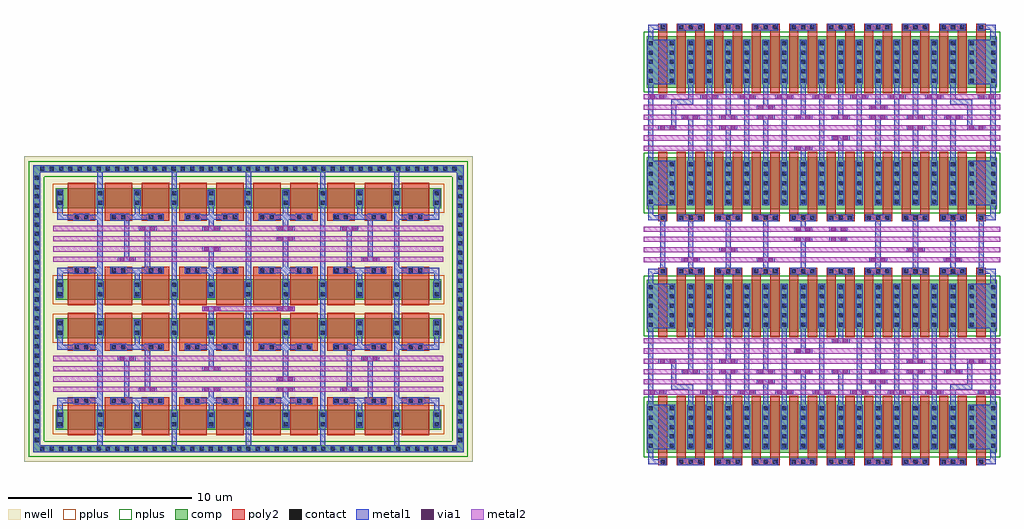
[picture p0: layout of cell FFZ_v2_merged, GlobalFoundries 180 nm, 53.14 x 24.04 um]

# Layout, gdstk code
from math import pi, radians
import gdstk
lib = gdstk.Library(unit=1e-6, precision=5e-09)
def R(c, l, rs):  # rectangles x0, y0, x1, y1
    for r in rs: c.add(gdstk.rectangle(r[:2], r[2:], *l))
def A(c, l, x, y, w, h, nx, ny, dx, dy):  # array of equal rectangles
    R(c, l, [(x+i*dx, y+j*dy, x+i*dx+w, y+j*dy+h) for i in range(nx) for j in range(ny)])
nwell = (21, 0)
comp = (22, 0)
poly2 = (30, 0)
pplus = (31, 0)
nplus = (32, 0)
contact = (33, 0)
metal1 = (34, 0)
via1 = (35, 0)
metal2 = (36, 0)

pfet = lib.new_cell('pfet')
R(pfet, nwell, [(-0.9,-0.44,20.96,1.54)])
R(pfet, comp, [(-0.46,0,0,1.1), (0,0,20.06,1.1), (20.06,0,20.52,1.1)])
A(pfet, poly2, 0.19, -0.3, 1.5, 1.7, 10, 1, 2.02, 0)
A(pfet, poly2, 0.19, 1.4, 1.5, 0.38, 10, 1, 2.02, 0)
R(pfet, pplus, [(-0.63,-0.24,20.69,1.34)])
A(pfet, contact, 1.84, 0.185, 0.22, 0.22, 9, 2, 2.02, 0.51)
R(pfet, contact, [(-0.34,0.185,-0.12,0.405), (20.18,0.185,20.4,0.405), (-0.34,0.695,-0.12,0.915), (20.18,0.695,20.4,0.915), (0.575,1.48,0.795,1.7), (1.085,1.48,1.305,1.7), (2.595,1.48,2.815,1.7), (3.105,1.48,3.325,1.7), (4.615,1.48,4.835,1.7), (5.125,1.48,5.345,1.7), (6.635,1.48,6.855,1.7), (7.145,1.48,7.365,1.7), (8.655,1.48,8.875,1.7), (9.165,1.48,9.385,1.7), (10.675,1.48,10.895,1.7), (11.185,1.48,11.405,1.7), (12.695,1.48,12.915,1.7), (13.205,1.48,13.425,1.7), (14.715,1.48,14.935,1.7), (15.225,1.48,15.445,1.7), (16.735,1.48,16.955,1.7), (17.245,1.48,17.465,1.7), (18.755,1.48,18.975,1.7), (19.265,1.48,19.485,1.7)])
A(pfet, metal1, 1.76, 0.105, 0.38, 0.89, 9, 1, 2.02, 0)
A(pfet, metal1, 0.495, 1.4, 0.89, 0.38, 10, 1, 2.02, 0)
R(pfet, metal1, [(-0.42,0.105,-0.04,0.995), (20.1,0.105,20.48,0.995)])

m1_m2 = lib.new_cell('M1_M2')
R(m1_m2, via1, [(0.1,0.01,0.36,0.27), (0.62,0.01,0.88,0.27)])
m1_m2.add(gdstk.FlexPath([(0,0.14),(0.98,0.14)], 0.28, ends="flush", simple_path=True, layer=36, datatype=0))  # metal2
m1_m2.add(gdstk.FlexPath([(0,0.14),(0.98,0.14)], 0.28, ends="flush", simple_path=True, layer=34, datatype=0))  # metal1

nfet = lib.new_cell('nfet')
R(nfet, comp, [(-0.42,0,0,2.82), (0,0,18.22,2.82), (18.22,0,18.64,2.82)])
A(nfet, poly2, 0.19, -0.3, 0.5, 3.42, 18, 1, 1.02, 0)
A(nfet, poly2, 0.19, 3.12, 0.5, 0.36, 18, 1, 1.02, 0)
R(nfet, nplus, [(-0.59,-0.24,18.81,3.06)])
A(nfet, contact, -0.32, 0.28, 0.22, 0.22, 1, 5, 0, 0.51)
A(nfet, contact, 0.84, 0.28, 0.22, 0.22, 17, 5, 1.02, 0.51)
A(nfet, contact, 18.32, 0.28, 0.22, 0.22, 1, 5, 0, 0.51)
A(nfet, contact, 0.33, 3.19, 0.22, 0.22, 18, 1, 1.02, 0)
A(nfet, metal1, 0.76, 0.2, 0.38, 2.42, 17, 1, 1.02, 0)
A(nfet, metal1, 0.25, 3.11, 0.38, 0.38, 18, 1, 1.02, 0)
R(nfet, metal1, [(-0.4,0.2,-0.02,2.62), (18.24,0.2,18.62,2.62)])

ffz_v2_merged = lib.new_cell('FFZ_v2_merged')
R(ffz_v2_merged, nwell, [(2.015,0.67,26.455,17.29), (3.305,1.96,25.165,16)])
A(ffz_v2_merged, poly2, 38.055, 0.475, 0.52, 0.36, 8, 2, 2.04, 10.38)
A(ffz_v2_merged, poly2, 38.055, 13.755, 0.52, 0.36, 8, 2, 2.04, 10.38)
A(ffz_v2_merged, contact, 38.205, 0.545, 0.22, 0.22, 8, 2, 2.04, 10.38)
A(ffz_v2_merged, contact, 2.905, 1.25, 0.22, 0.22, 45, 2, 0.51, 15.24)
A(ffz_v2_merged, contact, 2.595, 1.73, 0.22, 0.22, 1, 29, 0, 0.51)
A(ffz_v2_merged, contact, 25.655, 1.73, 0.22, 0.22, 1, 29, 0, 0.51)
A(ffz_v2_merged, contact, 38.205, 13.825, 0.22, 0.22, 8, 2, 2.04, 10.38)
A(ffz_v2_merged, metal1, 37.995, 0.465, 0.64, 0.38, 8, 2, 2.04, 10.38)
A(ffz_v2_merged, metal1, 37.995, 13.745, 0.64, 0.38, 8, 2, 2.04, 10.38)
R(ffz_v2_merged, metal1, [(36.325,1.335,37.105,3.755), (53.805,1.335,54.585,3.755), (36.325,7.935,37.105,10.355), (53.805,7.935,54.585,10.355), (36.325,14.615,37.105,17.035), (53.805,14.615,54.585,17.035), (36.325,21.215,37.105,23.635), (53.805,21.215,54.585,23.635)])
ffz_v2_merged.add(gdstk.FlexPath([(3.615,4.6),(24.855,4.6)], 0.28, ends="flush", simple_path=True, layer=36, datatype=0))  # metal2
ffz_v2_merged.add(gdstk.FlexPath([(3.615,5.16),(24.855,5.16)], 0.28, ends="flush", simple_path=True, layer=36, datatype=0))  # metal2
ffz_v2_merged.add(gdstk.FlexPath([(3.615,5.72),(24.855,5.72)], 0.28, ends="flush", simple_path=True, layer=36, datatype=0))  # metal2
ffz_v2_merged.add(gdstk.FlexPath([(3.615,6.28),(24.855,6.28)], 0.28, ends="flush", simple_path=True, layer=36, datatype=0))  # metal2
ffz_v2_merged.add(gdstk.FlexPath([(3.615,13.36),(24.855,13.36)], 0.28, ends="flush", simple_path=True, layer=36, datatype=0))  # metal2
ffz_v2_merged.add(gdstk.FlexPath([(3.615,12.8),(24.855,12.8)], 0.28, ends="flush", simple_path=True, layer=36, datatype=0))  # metal2
ffz_v2_merged.add(gdstk.FlexPath([(3.615,12.24),(24.855,12.24)], 0.28, ends="flush", simple_path=True, layer=36, datatype=0))  # metal2
ffz_v2_merged.add(gdstk.FlexPath([(3.615,11.68),(24.855,11.68)], 0.28, ends="flush", simple_path=True, layer=36, datatype=0))  # metal2
ffz_v2_merged.add(gdstk.FlexPath([(12.705,8.98),(15.765,8.98)], 0.28, ends="flush", simple_path=True, layer=36, datatype=0))  # metal2
ffz_v2_merged.add(gdstk.FlexPath([(35.755,7.245),(55.155,7.245)], 0.28, ends="flush", simple_path=True, layer=36, datatype=0))  # metal2
ffz_v2_merged.add(gdstk.FlexPath([(35.755,6.125),(55.155,6.125)], 0.28, ends="flush", simple_path=True, layer=36, datatype=0))  # metal2
ffz_v2_merged.add(gdstk.FlexPath([(35.755,6.685),(55.155,6.685)], 0.28, ends="flush", simple_path=True, layer=36, datatype=0))  # metal2
ffz_v2_merged.add(gdstk.FlexPath([(35.755,5.565),(55.155,5.565)], 0.28, ends="flush", simple_path=True, layer=36, datatype=0))  # metal2
ffz_v2_merged.add(gdstk.FlexPath([(35.755,4.445),(55.155,4.445)], 0.28, ends="flush", simple_path=True, layer=36, datatype=0))  # metal2
ffz_v2_merged.add(gdstk.FlexPath([(35.755,5.005),(55.155,5.005)], 0.28, ends="flush", simple_path=True, layer=36, datatype=0))  # metal2
ffz_v2_merged.add(gdstk.FlexPath([(35.755,11.645),(55.155,11.645)], 0.28, ends="flush", simple_path=True, layer=36, datatype=0))  # metal2
ffz_v2_merged.add(gdstk.FlexPath([(35.755,12.205),(55.155,12.205)], 0.28, ends="flush", simple_path=True, layer=36, datatype=0))  # metal2
ffz_v2_merged.add(gdstk.FlexPath([(35.755,12.765),(55.155,12.765)], 0.28, ends="flush", simple_path=True, layer=36, datatype=0))  # metal2
ffz_v2_merged.add(gdstk.FlexPath([(35.755,13.325),(55.155,13.325)], 0.28, ends="flush", simple_path=True, layer=36, datatype=0))  # metal2
ffz_v2_merged.add(gdstk.FlexPath([(35.755,19.965),(55.155,19.965)], 0.28, ends="flush", simple_path=True, layer=36, datatype=0))  # metal2
ffz_v2_merged.add(gdstk.FlexPath([(35.755,20.525),(55.155,20.525)], 0.28, ends="flush", simple_path=True, layer=36, datatype=0))  # metal2
ffz_v2_merged.add(gdstk.FlexPath([(35.755,19.405),(55.155,19.405)], 0.28, ends="flush", simple_path=True, layer=36, datatype=0))  # metal2
ffz_v2_merged.add(gdstk.FlexPath([(35.755,18.285),(55.155,18.285)], 0.28, ends="flush", simple_path=True, layer=36, datatype=0))  # metal2
ffz_v2_merged.add(gdstk.FlexPath([(35.755,18.845),(55.155,18.845)], 0.28, ends="flush", simple_path=True, layer=36, datatype=0))  # metal2
ffz_v2_merged.add(gdstk.FlexPath([(35.755,17.725),(55.155,17.725)], 0.28, ends="flush", simple_path=True, layer=36, datatype=0))  # metal2
ffz_v2_merged.add(gdstk.FlexPath([(8.74,10.88),(8.74,13.22)], 0.28, ends="flush", simple_path=True, layer=34, datatype=0))  # metal1
ffz_v2_merged.add(gdstk.FlexPath([(7.61,14.16),(7.61,11.82)], 0.28, ends="flush", simple_path=True, layer=34, datatype=0))  # metal1
ffz_v2_merged.add(gdstk.FlexPath([(16.255,11.21),(16.255,12.66)], 0.28, ends="flush", simple_path=True, layer=34, datatype=0))  # metal1
ffz_v2_merged.add(gdstk.FlexPath([(20.86,14.16),(20.86,11.82)], 0.28, ends="flush", simple_path=True, layer=34, datatype=0))  # metal1
ffz_v2_merged.add(gdstk.FlexPath([(19.73,10.88),(19.73,13.22)], 0.28, ends="flush", simple_path=True, layer=34, datatype=0))  # metal1
ffz_v2_merged.add(gdstk.FlexPath([(22.315,13.97),(22.315,11.07)], 0.28, ends="flush", simple_path=True, layer=34, datatype=0))  # metal1
ffz_v2_merged.add(gdstk.FlexPath([(6.155,13.97),(6.155,11.07)], 0.28, ends="flush", simple_path=True, layer=34, datatype=0))  # metal1
ffz_v2_merged.add(gdstk.FlexPath([(10.195,3.395),(10.195,14.565)], 0.28, ends="flush", simple_path=True, layer=34, datatype=0))  # metal1
ffz_v2_merged.add(gdstk.FlexPath([(14.235,3.395),(14.235,14.565)], 0.28, ends="flush", simple_path=True, layer=34, datatype=0))  # metal1
ffz_v2_merged.add(gdstk.FlexPath([(18.275,3.395),(18.275,14.565)], 0.28, ends="flush", simple_path=True, layer=34, datatype=0))  # metal1
ffz_v2_merged.add(gdstk.FlexPath([(2.705,16.6),(2.705,1.36),(25.765,1.36),(25.765,16.6),(2.515,16.6)], 0.38, ends="flush", simple_path=True, layer=34, datatype=0))  # metal1
ffz_v2_merged.add(gdstk.FlexPath([(36.785,11.225),(36.785,13.745)], 0.28, ends="flush", simple_path=True, layer=34, datatype=0))  # metal1
ffz_v2_merged.add(gdstk.FlexPath([(54.125,11.225),(54.125,13.745)], 0.28, ends="flush", simple_path=True, layer=34, datatype=0))  # metal1
ffz_v2_merged.add(gdstk.FlexPath([(38.315,13.745),(38.315,11.225)], 0.28, ends="flush", simple_path=True, layer=34, datatype=0))  # metal1
ffz_v2_merged.add(gdstk.FlexPath([(40.355,13.745),(40.355,11.225)], 0.28, ends="flush", simple_path=True, layer=34, datatype=0))  # metal1
ffz_v2_merged.add(gdstk.FlexPath([(42.395,13.745),(42.395,11.225)], 0.28, ends="flush", simple_path=True, layer=34, datatype=0))  # metal1
ffz_v2_merged.add(gdstk.FlexPath([(44.435,11.225),(44.435,12.625)], 0.28, ends="flush", simple_path=True, layer=34, datatype=0))  # metal1
ffz_v2_merged.add(gdstk.FlexPath([(48.515,13.745),(48.515,11.225)], 0.28, ends="flush", simple_path=True, layer=34, datatype=0))  # metal1
ffz_v2_merged.add(gdstk.FlexPath([(50.555,13.745),(50.555,11.225)], 0.28, ends="flush", simple_path=True, layer=34, datatype=0))  # metal1
ffz_v2_merged.add(gdstk.FlexPath([(52.595,13.745),(52.595,11.225)], 0.28, ends="flush", simple_path=True, layer=34, datatype=0))  # metal1
ffz_v2_merged.add(gdstk.FlexPath([(46.475,17.035),(46.475,18.145)], 0.28, ends="flush", simple_path=True, layer=34, datatype=0))  # metal1
ffz_v2_merged.add(gdstk.FlexPath([(44.435,17.035),(44.435,17.585)], 0.28, ends="flush", simple_path=True, layer=34, datatype=0))  # metal1
ffz_v2_merged.add(gdstk.FlexPath([(46.475,21.215),(46.475,19.545)], 0.28, ends="flush", simple_path=True, layer=34, datatype=0))  # metal1
ffz_v2_merged.add(gdstk.FlexPath([(48.515,17.035),(48.515,19.265)], 0.28, ends="flush", simple_path=True, layer=34, datatype=0))  # metal1
ffz_v2_merged.add(gdstk.FlexPath([(50.555,21.215),(50.555,19.545)], 0.28, ends="flush", simple_path=True, layer=34, datatype=0))  # metal1
ffz_v2_merged.add(gdstk.FlexPath([(50.555,17.035),(50.555,18.705)], 0.28, ends="flush", simple_path=True, layer=34, datatype=0))  # metal1
ffz_v2_merged.add(gdstk.FlexPath([(48.515,21.215),(48.515,20.105)], 0.28, ends="flush", simple_path=True, layer=34, datatype=0))  # metal1
ffz_v2_merged.add(gdstk.FlexPath([(47.495,21.215),(47.495,17.035)], 0.28, ends="flush", simple_path=True, layer=34, datatype=0))  # metal1
ffz_v2_merged.add(gdstk.FlexPath([(49.535,21.215),(49.535,17.035)], 0.28, ends="flush", simple_path=True, layer=34, datatype=0))  # metal1
ffz_v2_merged.add(gdstk.FlexPath([(51.575,21.215),(51.575,17.035)], 0.28, ends="flush", simple_path=True, layer=34, datatype=0))  # metal1
ffz_v2_merged.add(gdstk.FlexPath([(52.595,17.035),(52.595,19.265)], 0.28, ends="flush", simple_path=True, layer=34, datatype=0))  # metal1
ffz_v2_merged.add(gdstk.FlexPath([(52.595,21.215),(52.595,20.245),(53.515,20.245),(53.515,18.985)], 0.28, ends="flush", simple_path=True, layer=34, datatype=0))  # metal1
ffz_v2_merged.add(gdstk.FlexPath([(54.775,17.035),(54.775,21.215)], 0.28, ends="flush", simple_path=True, layer=34, datatype=0))  # metal1
ffz_v2_merged.add(gdstk.FlexPath([(44.435,21.215),(44.435,19.545)], 0.28, ends="flush", simple_path=True, layer=34, datatype=0))  # metal1
ffz_v2_merged.add(gdstk.FlexPath([(51.575,17.035),(51.575,21.215)], 0.28, ends="flush", simple_path=True, layer=34, datatype=0))  # metal1
ffz_v2_merged.add(gdstk.FlexPath([(49.535,21.215),(49.535,17.035)], 0.28, ends="flush", simple_path=True, layer=34, datatype=0))  # metal1
ffz_v2_merged.add(gdstk.FlexPath([(47.495,21.215),(47.495,17.035)], 0.28, ends="flush", simple_path=True, layer=34, datatype=0))  # metal1
ffz_v2_merged.add(gdstk.FlexPath([(45.455,17.035),(45.455,21.215)], 0.28, ends="flush", simple_path=True, layer=34, datatype=0))  # metal1
ffz_v2_merged.add(gdstk.FlexPath([(42.395,17.035),(42.395,19.265)], 0.28, ends="flush", simple_path=True, layer=34, datatype=0))  # metal1
ffz_v2_merged.add(gdstk.FlexPath([(40.355,21.215),(40.355,19.545)], 0.28, ends="flush", simple_path=True, layer=34, datatype=0))  # metal1
ffz_v2_merged.add(gdstk.FlexPath([(40.355,17.035),(40.355,18.705)], 0.28, ends="flush", simple_path=True, layer=34, datatype=0))  # metal1
ffz_v2_merged.add(gdstk.FlexPath([(42.395,21.215),(42.395,20.105)], 0.28, ends="flush", simple_path=True, layer=34, datatype=0))  # metal1
ffz_v2_merged.add(gdstk.FlexPath([(43.415,21.215),(43.415,17.035)], 0.28, ends="flush", simple_path=True, layer=34, datatype=0))  # metal1
ffz_v2_merged.add(gdstk.FlexPath([(41.375,21.215),(41.375,17.035)], 0.28, ends="flush", simple_path=True, layer=34, datatype=0))  # metal1
ffz_v2_merged.add(gdstk.FlexPath([(39.335,21.215),(39.335,17.035)], 0.28, ends="flush", simple_path=True, layer=34, datatype=0))  # metal1
ffz_v2_merged.add(gdstk.FlexPath([(38.315,17.035),(38.315,19.265)], 0.28, ends="flush", simple_path=True, layer=34, datatype=0))  # metal1
ffz_v2_merged.add(gdstk.FlexPath([(38.315,21.215),(38.315,20.245),(37.395,20.245),(37.395,18.985)], 0.28, ends="flush", simple_path=True, layer=34, datatype=0))  # metal1
ffz_v2_merged.add(gdstk.FlexPath([(54.775,20.655),(54.775,17.035)], 0.28, ends="flush", simple_path=True, layer=34, datatype=0))  # metal1
ffz_v2_merged.add(gdstk.FlexPath([(36.135,17.035),(36.135,21.215)], 0.28, ends="flush", simple_path=True, layer=34, datatype=0))  # metal1
ffz_v2_merged.add(gdstk.FlexPath([(54.775,23.635),(54.775,24.315),(54.315,24.315)], 0.28, ends="flush", simple_path=True, layer=34, datatype=0))  # metal1
ffz_v2_merged.add(gdstk.FlexPath([(36.135,23.635),(36.135,24.315),(36.595,24.315)], 0.28, ends="flush", simple_path=True, layer=34, datatype=0))  # metal1
ffz_v2_merged.add(gdstk.FlexPath([(54.775,14.615),(54.775,13.935),(54.315,13.935)], 0.28, ends="flush", simple_path=True, layer=34, datatype=0))  # metal1
ffz_v2_merged.add(gdstk.FlexPath([(36.135,14.615),(36.135,13.935),(36.595,13.935)], 0.28, ends="flush", simple_path=True, layer=34, datatype=0))  # metal1
ffz_v2_merged.add(gdstk.FlexPath([(44.435,13.745),(44.435,13.465)], 0.28, ends="flush", simple_path=True, layer=34, datatype=0))  # metal1
ffz_v2_merged.add(gdstk.FlexPath([(8.175,14.565),(8.175,13.83)], 0.28, ends="flush", simple_path=True, layer=34, datatype=0))  # metal1
ffz_v2_merged.add(gdstk.FlexPath([(11.65,13.97),(12.78,13.97)], 0.28, ends="flush", simple_path=True, layer=34, datatype=0))  # metal1
ffz_v2_merged.add(gdstk.FlexPath([(12.215,14.565),(12.215,13.83)], 0.28, ends="flush", simple_path=True, layer=34, datatype=0))  # metal1
ffz_v2_merged.add(gdstk.FlexPath([(15.69,13.97),(16.82,13.97)], 0.28, ends="flush", simple_path=True, layer=34, datatype=0))  # metal1
ffz_v2_merged.add(gdstk.FlexPath([(16.255,14.565),(16.255,13.83)], 0.28, ends="flush", simple_path=True, layer=34, datatype=0))  # metal1
ffz_v2_merged.add(gdstk.FlexPath([(19.73,13.97),(20.86,13.97)], 0.28, ends="flush", simple_path=True, layer=34, datatype=0))  # metal1
ffz_v2_merged.add(gdstk.FlexPath([(20.295,14.565),(20.295,13.83)], 0.28, ends="flush", simple_path=True, layer=34, datatype=0))  # metal1
ffz_v2_merged.add(gdstk.FlexPath([(24.495,14.565),(24.495,13.97),(23.77,13.97)], 0.28, ends="flush", simple_path=True, layer=34, datatype=0))  # metal1
ffz_v2_merged.add(gdstk.FlexPath([(22.315,14.565),(22.315,13.97),(22.88,13.97)], 0.28, ends="flush", simple_path=True, layer=34, datatype=0))  # metal1
ffz_v2_merged.add(gdstk.FlexPath([(6.155,16.41),(6.155,15.455)], 0.28, ends="flush", simple_path=True, layer=34, datatype=0))  # metal1
ffz_v2_merged.add(gdstk.FlexPath([(10.195,16.41),(10.195,15.455)], 0.28, ends="flush", simple_path=True, layer=34, datatype=0))  # metal1
ffz_v2_merged.add(gdstk.FlexPath([(14.235,16.41),(14.235,15.455)], 0.28, ends="flush", simple_path=True, layer=34, datatype=0))  # metal1
ffz_v2_merged.add(gdstk.FlexPath([(18.275,16.41),(18.275,15.455)], 0.28, ends="flush", simple_path=True, layer=34, datatype=0))  # metal1
ffz_v2_merged.add(gdstk.FlexPath([(22.315,16.41),(22.315,15.455)], 0.28, ends="flush", simple_path=True, layer=34, datatype=0))  # metal1
ffz_v2_merged.add(gdstk.FlexPath([(6.155,14.565),(6.155,13.97),(5.59,13.97)], 0.28, ends="flush", simple_path=True, layer=34, datatype=0))  # metal1
ffz_v2_merged.add(gdstk.FlexPath([(3.975,14.565),(3.975,13.97),(4.7,13.97)], 0.28, ends="flush", simple_path=True, layer=34, datatype=0))  # metal1
ffz_v2_merged.add(gdstk.FlexPath([(7.61,13.97),(8.74,13.97)], 0.28, ends="flush", simple_path=True, layer=34, datatype=0))  # metal1
ffz_v2_merged.add(gdstk.FlexPath([(12.215,13.83),(12.215,13.5)], 0.28, ends="flush", simple_path=True, layer=34, datatype=0))  # metal1
ffz_v2_merged.add(gdstk.FlexPath([(16.255,13.83),(16.255,13.5)], 0.28, ends="flush", simple_path=True, layer=34, datatype=0))  # metal1
ffz_v2_merged.add(gdstk.FlexPath([(16.255,9.585),(16.255,8.98)], 0.28, ends="flush", simple_path=True, layer=34, datatype=0))  # metal1
ffz_v2_merged.add(gdstk.FlexPath([(22.315,8.375),(22.315,9.585)], 0.28, ends="flush", simple_path=True, layer=34, datatype=0))  # metal1
ffz_v2_merged.add(gdstk.FlexPath([(8.74,7.08),(8.74,4.74)], 0.28, ends="flush", simple_path=True, layer=34, datatype=0))  # metal1
ffz_v2_merged.add(gdstk.FlexPath([(6.155,2.505),(6.155,1.55)], 0.28, ends="flush", simple_path=True, layer=34, datatype=0))  # metal1
ffz_v2_merged.add(gdstk.FlexPath([(10.195,2.505),(10.195,1.55)], 0.28, ends="flush", simple_path=True, layer=34, datatype=0))  # metal1
ffz_v2_merged.add(gdstk.FlexPath([(14.235,2.505),(14.235,1.55)], 0.28, ends="flush", simple_path=True, layer=34, datatype=0))  # metal1
ffz_v2_merged.add(gdstk.FlexPath([(18.275,2.505),(18.275,1.55)], 0.28, ends="flush", simple_path=True, layer=34, datatype=0))  # metal1
ffz_v2_merged.add(gdstk.FlexPath([(22.315,2.505),(22.315,1.55)], 0.28, ends="flush", simple_path=True, layer=34, datatype=0))  # metal1
ffz_v2_merged.add(gdstk.FlexPath([(7.61,3.8),(7.61,6.14)], 0.28, ends="flush", simple_path=True, layer=34, datatype=0))  # metal1
ffz_v2_merged.add(gdstk.FlexPath([(12.215,4.13),(12.215,4.46)], 0.28, ends="flush", simple_path=True, layer=34, datatype=0))  # metal1
ffz_v2_merged.add(gdstk.FlexPath([(12.215,6.75),(12.215,5.86)], 0.28, ends="flush", simple_path=True, layer=34, datatype=0))  # metal1
ffz_v2_merged.add(gdstk.FlexPath([(16.255,4.13),(16.255,4.46)], 0.28, ends="flush", simple_path=True, layer=34, datatype=0))  # metal1
ffz_v2_merged.add(gdstk.FlexPath([(16.255,6.75),(16.255,5.3)], 0.28, ends="flush", simple_path=True, layer=34, datatype=0))  # metal1
ffz_v2_merged.add(gdstk.FlexPath([(20.86,3.8),(20.86,6.14)], 0.28, ends="flush", simple_path=True, layer=34, datatype=0))  # metal1
ffz_v2_merged.add(gdstk.FlexPath([(19.73,7.08),(19.73,4.74)], 0.28, ends="flush", simple_path=True, layer=34, datatype=0))  # metal1
ffz_v2_merged.add(gdstk.FlexPath([(22.315,3.99),(22.315,6.89)], 0.28, ends="flush", simple_path=True, layer=34, datatype=0))  # metal1
ffz_v2_merged.add(gdstk.FlexPath([(6.155,3.99),(6.155,6.89)], 0.28, ends="flush", simple_path=True, layer=34, datatype=0))  # metal1
ffz_v2_merged.add(gdstk.FlexPath([(3.975,3.395),(3.975,3.99),(4.7,3.99)], 0.28, ends="flush", simple_path=True, layer=34, datatype=0))  # metal1
ffz_v2_merged.add(gdstk.FlexPath([(7.61,3.99),(8.74,3.99)], 0.28, ends="flush", simple_path=True, layer=34, datatype=0))  # metal1
ffz_v2_merged.add(gdstk.FlexPath([(8.175,3.395),(8.175,4.13)], 0.28, ends="flush", simple_path=True, layer=34, datatype=0))  # metal1
ffz_v2_merged.add(gdstk.FlexPath([(11.65,3.99),(12.78,3.99)], 0.28, ends="flush", simple_path=True, layer=34, datatype=0))  # metal1
ffz_v2_merged.add(gdstk.FlexPath([(12.215,3.395),(12.215,4.13)], 0.28, ends="flush", simple_path=True, layer=34, datatype=0))  # metal1
ffz_v2_merged.add(gdstk.FlexPath([(15.69,3.99),(16.82,3.99)], 0.28, ends="flush", simple_path=True, layer=34, datatype=0))  # metal1
ffz_v2_merged.add(gdstk.FlexPath([(16.255,3.395),(16.255,4.13)], 0.28, ends="flush", simple_path=True, layer=34, datatype=0))  # metal1
ffz_v2_merged.add(gdstk.FlexPath([(19.73,3.99),(20.86,3.99)], 0.28, ends="flush", simple_path=True, layer=34, datatype=0))  # metal1
ffz_v2_merged.add(gdstk.FlexPath([(20.295,3.395),(20.295,4.13)], 0.28, ends="flush", simple_path=True, layer=34, datatype=0))  # metal1
ffz_v2_merged.add(gdstk.FlexPath([(24.495,3.395),(24.495,3.99),(23.77,3.99)], 0.28, ends="flush", simple_path=True, layer=34, datatype=0))  # metal1
ffz_v2_merged.add(gdstk.FlexPath([(22.315,3.395),(22.315,3.99),(22.88,3.99)], 0.28, ends="flush", simple_path=True, layer=34, datatype=0))  # metal1
ffz_v2_merged.add(gdstk.FlexPath([(6.155,3.395),(6.155,3.99),(5.59,3.99)], 0.28, ends="flush", simple_path=True, layer=34, datatype=0))  # metal1
ffz_v2_merged.add(gdstk.FlexPath([(3.975,10.475),(3.975,11.07),(4.7,11.07)], 0.28, ends="flush", simple_path=True, layer=34, datatype=0))  # metal1
ffz_v2_merged.add(gdstk.FlexPath([(7.61,11.07),(8.74,11.07)], 0.28, ends="flush", simple_path=True, layer=34, datatype=0))  # metal1
ffz_v2_merged.add(gdstk.FlexPath([(8.175,10.475),(8.175,11.21)], 0.28, ends="flush", simple_path=True, layer=34, datatype=0))  # metal1
ffz_v2_merged.add(gdstk.FlexPath([(11.65,11.07),(12.78,11.07)], 0.28, ends="flush", simple_path=True, layer=34, datatype=0))  # metal1
ffz_v2_merged.add(gdstk.FlexPath([(12.215,10.475),(12.215,11.21)], 0.28, ends="flush", simple_path=True, layer=34, datatype=0))  # metal1
ffz_v2_merged.add(gdstk.FlexPath([(15.69,11.07),(16.82,11.07)], 0.28, ends="flush", simple_path=True, layer=34, datatype=0))  # metal1
ffz_v2_merged.add(gdstk.FlexPath([(16.255,10.475),(16.255,11.21)], 0.28, ends="flush", simple_path=True, layer=34, datatype=0))  # metal1
ffz_v2_merged.add(gdstk.FlexPath([(19.73,11.07),(20.86,11.07)], 0.28, ends="flush", simple_path=True, layer=34, datatype=0))  # metal1
ffz_v2_merged.add(gdstk.FlexPath([(20.295,10.475),(20.295,11.21)], 0.28, ends="flush", simple_path=True, layer=34, datatype=0))  # metal1
ffz_v2_merged.add(gdstk.FlexPath([(24.495,10.475),(24.495,11.07),(23.77,11.07)], 0.28, ends="flush", simple_path=True, layer=34, datatype=0))  # metal1
ffz_v2_merged.add(gdstk.FlexPath([(22.315,10.475),(22.315,11.07),(22.88,11.07)], 0.28, ends="flush", simple_path=True, layer=34, datatype=0))  # metal1
ffz_v2_merged.add(gdstk.FlexPath([(6.155,10.475),(6.155,11.07),(5.59,11.07)], 0.28, ends="flush", simple_path=True, layer=34, datatype=0))  # metal1
ffz_v2_merged.add(gdstk.FlexPath([(3.975,7.485),(3.975,6.89),(4.7,6.89)], 0.28, ends="flush", simple_path=True, layer=34, datatype=0))  # metal1
ffz_v2_merged.add(gdstk.FlexPath([(7.61,6.89),(8.74,6.89)], 0.28, ends="flush", simple_path=True, layer=34, datatype=0))  # metal1
ffz_v2_merged.add(gdstk.FlexPath([(8.175,7.485),(8.175,6.75)], 0.28, ends="flush", simple_path=True, layer=34, datatype=0))  # metal1
ffz_v2_merged.add(gdstk.FlexPath([(12.215,11.21),(12.215,12.1)], 0.28, ends="flush", simple_path=True, layer=34, datatype=0))  # metal1
ffz_v2_merged.add(gdstk.FlexPath([(11.65,6.89),(12.78,6.89)], 0.28, ends="flush", simple_path=True, layer=34, datatype=0))  # metal1
ffz_v2_merged.add(gdstk.FlexPath([(12.215,7.485),(12.215,6.75)], 0.28, ends="flush", simple_path=True, layer=34, datatype=0))  # metal1
ffz_v2_merged.add(gdstk.FlexPath([(15.69,6.89),(16.82,6.89)], 0.28, ends="flush", simple_path=True, layer=34, datatype=0))  # metal1
ffz_v2_merged.add(gdstk.FlexPath([(16.255,7.485),(16.255,6.75)], 0.28, ends="flush", simple_path=True, layer=34, datatype=0))  # metal1
ffz_v2_merged.add(gdstk.FlexPath([(19.73,6.89),(20.86,6.89)], 0.28, ends="flush", simple_path=True, layer=34, datatype=0))  # metal1
ffz_v2_merged.add(gdstk.FlexPath([(20.295,7.485),(20.295,6.75)], 0.28, ends="flush", simple_path=True, layer=34, datatype=0))  # metal1
ffz_v2_merged.add(gdstk.FlexPath([(6.155,8.375),(6.155,9.585)], 0.28, ends="flush", simple_path=True, layer=34, datatype=0))  # metal1
ffz_v2_merged.add(gdstk.FlexPath([(24.495,7.485),(24.495,6.89),(23.77,6.89)], 0.28, ends="flush", simple_path=True, layer=34, datatype=0))  # metal1
ffz_v2_merged.add(gdstk.FlexPath([(22.315,7.485),(22.315,6.89),(22.88,6.89)], 0.28, ends="flush", simple_path=True, layer=34, datatype=0))  # metal1
ffz_v2_merged.add(gdstk.FlexPath([(6.155,7.485),(6.155,6.89),(5.59,6.89)], 0.28, ends="flush", simple_path=True, layer=34, datatype=0))  # metal1
ffz_v2_merged.add(gdstk.FlexPath([(12.215,8.375),(12.215,8.98)], 0.28, ends="flush", simple_path=True, layer=34, datatype=0))  # metal1
ffz_v2_merged.add(gdstk.FlexPath([(43.415,3.755),(43.415,7.935)], 0.28, ends="flush", simple_path=True, layer=34, datatype=0))  # metal1
ffz_v2_merged.add(gdstk.FlexPath([(42.395,3.755),(42.395,4.865)], 0.28, ends="flush", simple_path=True, layer=34, datatype=0))  # metal1
ffz_v2_merged.add(gdstk.FlexPath([(40.355,7.935),(40.355,6.265)], 0.28, ends="flush", simple_path=True, layer=34, datatype=0))  # metal1
ffz_v2_merged.add(gdstk.FlexPath([(40.355,3.755),(40.355,5.425)], 0.28, ends="flush", simple_path=True, layer=34, datatype=0))  # metal1
ffz_v2_merged.add(gdstk.FlexPath([(42.395,7.935),(42.395,5.705)], 0.28, ends="flush", simple_path=True, layer=34, datatype=0))  # metal1
ffz_v2_merged.add(gdstk.FlexPath([(45.455,7.935),(45.455,3.755)], 0.28, ends="flush", simple_path=True, layer=34, datatype=0))  # metal1
ffz_v2_merged.add(gdstk.FlexPath([(47.495,3.755),(47.495,7.935)], 0.28, ends="flush", simple_path=True, layer=34, datatype=0))  # metal1
ffz_v2_merged.add(gdstk.FlexPath([(49.535,3.755),(49.535,7.935)], 0.28, ends="flush", simple_path=True, layer=34, datatype=0))  # metal1
ffz_v2_merged.add(gdstk.FlexPath([(51.575,7.935),(51.575,3.755)], 0.28, ends="flush", simple_path=True, layer=34, datatype=0))  # metal1
ffz_v2_merged.add(gdstk.FlexPath([(44.435,3.755),(44.435,5.425)], 0.28, ends="flush", simple_path=True, layer=34, datatype=0))  # metal1
ffz_v2_merged.add(gdstk.FlexPath([(54.775,7.935),(54.775,3.755)], 0.28, ends="flush", simple_path=True, layer=34, datatype=0))  # metal1
ffz_v2_merged.add(gdstk.FlexPath([(52.595,3.755),(52.595,4.725),(53.515,4.725),(53.515,5.985)], 0.28, ends="flush", simple_path=True, layer=34, datatype=0))  # metal1
ffz_v2_merged.add(gdstk.FlexPath([(52.595,7.935),(52.595,5.705)], 0.28, ends="flush", simple_path=True, layer=34, datatype=0))  # metal1
ffz_v2_merged.add(gdstk.FlexPath([(51.575,3.755),(51.575,7.935)], 0.28, ends="flush", simple_path=True, layer=34, datatype=0))  # metal1
ffz_v2_merged.add(gdstk.FlexPath([(49.535,3.755),(49.535,7.935)], 0.28, ends="flush", simple_path=True, layer=34, datatype=0))  # metal1
ffz_v2_merged.add(gdstk.FlexPath([(47.495,3.755),(47.495,7.935)], 0.28, ends="flush", simple_path=True, layer=34, datatype=0))  # metal1
ffz_v2_merged.add(gdstk.FlexPath([(48.515,3.755),(48.515,4.865)], 0.28, ends="flush", simple_path=True, layer=34, datatype=0))  # metal1
ffz_v2_merged.add(gdstk.FlexPath([(50.555,7.935),(50.555,6.265)], 0.28, ends="flush", simple_path=True, layer=34, datatype=0))  # metal1
ffz_v2_merged.add(gdstk.FlexPath([(50.555,3.755),(50.555,5.425)], 0.28, ends="flush", simple_path=True, layer=34, datatype=0))  # metal1
ffz_v2_merged.add(gdstk.FlexPath([(48.515,7.935),(48.515,5.705)], 0.28, ends="flush", simple_path=True, layer=34, datatype=0))  # metal1
ffz_v2_merged.add(gdstk.FlexPath([(46.475,3.755),(46.475,5.425)], 0.28, ends="flush", simple_path=True, layer=34, datatype=0))  # metal1
ffz_v2_merged.add(gdstk.FlexPath([(46.475,7.935),(46.475,7.385)], 0.28, ends="flush", simple_path=True, layer=34, datatype=0))  # metal1
ffz_v2_merged.add(gdstk.FlexPath([(44.435,7.935),(44.435,6.825)], 0.28, ends="flush", simple_path=True, layer=34, datatype=0))  # metal1
ffz_v2_merged.add(gdstk.FlexPath([(36.135,10.355),(36.135,11.035),(36.595,11.035)], 0.28, ends="flush", simple_path=True, layer=34, datatype=0))  # metal1
ffz_v2_merged.add(gdstk.FlexPath([(54.775,10.355),(54.775,11.035),(54.315,11.035)], 0.28, ends="flush", simple_path=True, layer=34, datatype=0))  # metal1
ffz_v2_merged.add(gdstk.FlexPath([(36.135,1.335),(36.135,0.655),(36.595,0.655)], 0.28, ends="flush", simple_path=True, layer=34, datatype=0))  # metal1
ffz_v2_merged.add(gdstk.FlexPath([(54.775,1.335),(54.775,0.655),(54.315,0.655)], 0.28, ends="flush", simple_path=True, layer=34, datatype=0))  # metal1
ffz_v2_merged.add(gdstk.FlexPath([(36.135,7.935),(36.135,3.755)], 0.28, ends="flush", simple_path=True, layer=34, datatype=0))  # metal1
ffz_v2_merged.add(gdstk.FlexPath([(54.775,4.315),(54.775,7.935)], 0.28, ends="flush", simple_path=True, layer=34, datatype=0))  # metal1
ffz_v2_merged.add(gdstk.FlexPath([(38.315,3.755),(38.315,4.725),(37.395,4.725),(37.395,5.985)], 0.28, ends="flush", simple_path=True, layer=34, datatype=0))  # metal1
ffz_v2_merged.add(gdstk.FlexPath([(38.315,7.935),(38.315,5.705)], 0.28, ends="flush", simple_path=True, layer=34, datatype=0))  # metal1
ffz_v2_merged.add(gdstk.FlexPath([(39.335,3.755),(39.335,7.935)], 0.28, ends="flush", simple_path=True, layer=34, datatype=0))  # metal1
ffz_v2_merged.add(gdstk.FlexPath([(41.375,3.755),(41.375,7.935)], 0.28, ends="flush", simple_path=True, layer=34, datatype=0))  # metal1
ffz_v2_merged.add(gdstk.FlexPath([(2.705,16.6),(2.705,1.36),(25.765,1.36),(25.765,16.6),(2.285,16.6)], 0.84, ends="flush", simple_path=True, layer=32, datatype=0))  # nplus
ffz_v2_merged.add(gdstk.FlexPath([(2.705,16.6),(2.705,1.36),(25.765,1.36),(25.765,16.6),(2.515,16.6)], 0.38, ends="flush", simple_path=True, layer=22, datatype=0))  # comp
ffz_v2_merged.add(gdstk.Reference(pfet, (4.205,2.4)))
ffz_v2_merged.add(gdstk.Reference(pfet, (4.205,8.48), x_reflection=True))
ffz_v2_merged.add(gdstk.Reference(m1_m2, (20.37,6.14)))
ffz_v2_merged.add(gdstk.Reference(m1_m2, (19.24,4.46)))
ffz_v2_merged.add(gdstk.Reference(m1_m2, (15.765,4.46)))
ffz_v2_merged.add(gdstk.Reference(m1_m2, (15.765,5.02)))
ffz_v2_merged.add(gdstk.Reference(m1_m2, (11.725,5.58)))
ffz_v2_merged.add(gdstk.Reference(m1_m2, (11.725,4.46)))
ffz_v2_merged.add(gdstk.Reference(m1_m2, (8.25,4.46)))
ffz_v2_merged.add(gdstk.Reference(m1_m2, (7.12,6.14)))
ffz_v2_merged.add(gdstk.Reference(pfet, (4.205,15.56), x_reflection=True))
ffz_v2_merged.add(gdstk.Reference(pfet, (4.205,9.48)))
ffz_v2_merged.add(gdstk.Reference(m1_m2, (20.37,11.82), x_reflection=True))
ffz_v2_merged.add(gdstk.Reference(m1_m2, (19.24,13.5), x_reflection=True))
ffz_v2_merged.add(gdstk.Reference(m1_m2, (15.765,13.5), x_reflection=True))
ffz_v2_merged.add(gdstk.Reference(m1_m2, (15.765,12.94), x_reflection=True))
ffz_v2_merged.add(gdstk.Reference(m1_m2, (11.725,12.38), x_reflection=True))
ffz_v2_merged.add(gdstk.Reference(m1_m2, (11.725,13.5), x_reflection=True))
ffz_v2_merged.add(gdstk.Reference(m1_m2, (8.25,13.5), x_reflection=True))
ffz_v2_merged.add(gdstk.Reference(m1_m2, (7.12,11.82), x_reflection=True))
ffz_v2_merged.add(gdstk.Reference(m1_m2, (11.725,8.84)))
ffz_v2_merged.add(gdstk.Reference(m1_m2, (15.765,8.84)))
ffz_v2_merged.add(gdstk.Reference(nfet, (36.345,7.735)))
ffz_v2_merged.add(gdstk.Reference(nfet, (36.345,3.955), x_reflection=True))
ffz_v2_merged.add(gdstk.Reference(m1_m2, (36.555,5.985)))
ffz_v2_merged.add(gdstk.Reference(m1_m2, (37.815,5.425)))
ffz_v2_merged.add(gdstk.Reference(m1_m2, (35.995,4.305)))
ffz_v2_merged.add(gdstk.Reference(m1_m2, (38.845,4.305)))
ffz_v2_merged.add(gdstk.Reference(m1_m2, (41.905,4.865)))
ffz_v2_merged.add(gdstk.Reference(m1_m2, (39.865,5.985)))
ffz_v2_merged.add(gdstk.Reference(m1_m2, (39.865,5.425)))
ffz_v2_merged.add(gdstk.Reference(m1_m2, (41.905,5.425)))
ffz_v2_merged.add(gdstk.Reference(m1_m2, (43.945,5.425)))
ffz_v2_merged.add(gdstk.Reference(m1_m2, (54.355,5.985), rotation=pi, x_reflection=True))
ffz_v2_merged.add(gdstk.Reference(m1_m2, (53.095,5.425), rotation=pi, x_reflection=True))
ffz_v2_merged.add(gdstk.Reference(m1_m2, (54.915,4.305), rotation=pi, x_reflection=True))
ffz_v2_merged.add(gdstk.Reference(m1_m2, (52.065,4.305), rotation=pi, x_reflection=True))
ffz_v2_merged.add(gdstk.Reference(m1_m2, (49.005,4.865), rotation=pi, x_reflection=True))
ffz_v2_merged.add(gdstk.Reference(m1_m2, (51.045,5.985), rotation=pi, x_reflection=True))
ffz_v2_merged.add(gdstk.Reference(m1_m2, (51.045,5.425), rotation=pi, x_reflection=True))
ffz_v2_merged.add(gdstk.Reference(m1_m2, (49.005,5.425), rotation=pi, x_reflection=True))
ffz_v2_merged.add(gdstk.Reference(m1_m2, (46.965,5.425), rotation=pi, x_reflection=True))
ffz_v2_merged.add(gdstk.Reference(m1_m2, (43.945,6.545)))
ffz_v2_merged.add(gdstk.Reference(m1_m2, (46.965,7.105), rotation=pi, x_reflection=True))
ffz_v2_merged.add(gdstk.Reference(m1_m2, (40.885,4.305)))
ffz_v2_merged.add(gdstk.Reference(m1_m2, (42.925,4.305)))
ffz_v2_merged.add(gdstk.Reference(m1_m2, (44.965,4.305)))
ffz_v2_merged.add(gdstk.Reference(m1_m2, (47.005,4.305)))
ffz_v2_merged.add(gdstk.Reference(m1_m2, (49.045,4.305)))
ffz_v2_merged.add(gdstk.Reference(m1_m2, (49.045,20.665), x_reflection=True))
ffz_v2_merged.add(gdstk.Reference(m1_m2, (47.005,20.665), x_reflection=True))
ffz_v2_merged.add(gdstk.Reference(m1_m2, (44.965,20.665), x_reflection=True))
ffz_v2_merged.add(gdstk.Reference(m1_m2, (42.925,20.665), x_reflection=True))
ffz_v2_merged.add(gdstk.Reference(m1_m2, (40.885,20.665), x_reflection=True))
ffz_v2_merged.add(gdstk.Reference(m1_m2, (43.945,17.865), x_reflection=True))
ffz_v2_merged.add(gdstk.Reference(m1_m2, (46.965,18.425), rotation=pi))
ffz_v2_merged.add(gdstk.Reference(m1_m2, (46.965,19.545), rotation=pi))
ffz_v2_merged.add(gdstk.Reference(m1_m2, (49.005,19.545), rotation=pi))
ffz_v2_merged.add(gdstk.Reference(m1_m2, (51.045,19.545), rotation=pi))
ffz_v2_merged.add(gdstk.Reference(m1_m2, (51.045,18.985), rotation=pi))
ffz_v2_merged.add(gdstk.Reference(m1_m2, (49.005,20.105), rotation=pi))
ffz_v2_merged.add(gdstk.Reference(m1_m2, (52.065,20.665), rotation=pi))
ffz_v2_merged.add(gdstk.Reference(m1_m2, (54.915,20.665), rotation=pi))
ffz_v2_merged.add(gdstk.Reference(m1_m2, (53.095,19.545), rotation=pi))
ffz_v2_merged.add(gdstk.Reference(m1_m2, (54.355,18.985), rotation=pi))
ffz_v2_merged.add(gdstk.Reference(m1_m2, (43.945,19.545), x_reflection=True))
ffz_v2_merged.add(gdstk.Reference(m1_m2, (41.905,19.545), x_reflection=True))
ffz_v2_merged.add(gdstk.Reference(m1_m2, (39.865,19.545), x_reflection=True))
ffz_v2_merged.add(gdstk.Reference(m1_m2, (39.865,18.985), x_reflection=True))
ffz_v2_merged.add(gdstk.Reference(m1_m2, (41.905,20.105), x_reflection=True))
ffz_v2_merged.add(gdstk.Reference(m1_m2, (38.845,20.665), x_reflection=True))
ffz_v2_merged.add(gdstk.Reference(m1_m2, (35.995,20.665), x_reflection=True))
ffz_v2_merged.add(gdstk.Reference(m1_m2, (37.815,19.545), x_reflection=True))
ffz_v2_merged.add(gdstk.Reference(m1_m2, (36.555,18.985), x_reflection=True))
ffz_v2_merged.add(gdstk.Reference(nfet, (36.345,21.015)))
ffz_v2_merged.add(gdstk.Reference(nfet, (36.345,17.235), x_reflection=True))
ffz_v2_merged.add(gdstk.Reference(m1_m2, (37.825,11.505)))
ffz_v2_merged.add(gdstk.Reference(m1_m2, (39.865,12.065)))
ffz_v2_merged.add(gdstk.Reference(m1_m2, (41.905,11.505)))
ffz_v2_merged.add(gdstk.Reference(m1_m2, (48.025,11.505)))
ffz_v2_merged.add(gdstk.Reference(m1_m2, (50.065,12.065)))
ffz_v2_merged.add(gdstk.Reference(m1_m2, (52.105,11.505)))
ffz_v2_merged.add(gdstk.Reference(m1_m2, (43.945,13.185)))
ffz_v2_merged.add(gdstk.Reference(m1_m2, (43.945,12.625)))
ffz_v2_merged.add(gdstk.Reference(m1_m2, (45.865,13.185)))
ffz_v2_merged.add(gdstk.Reference(m1_m2, (45.865,12.625)))

lib.write_gds('FFZ_v2_merged.gds')
